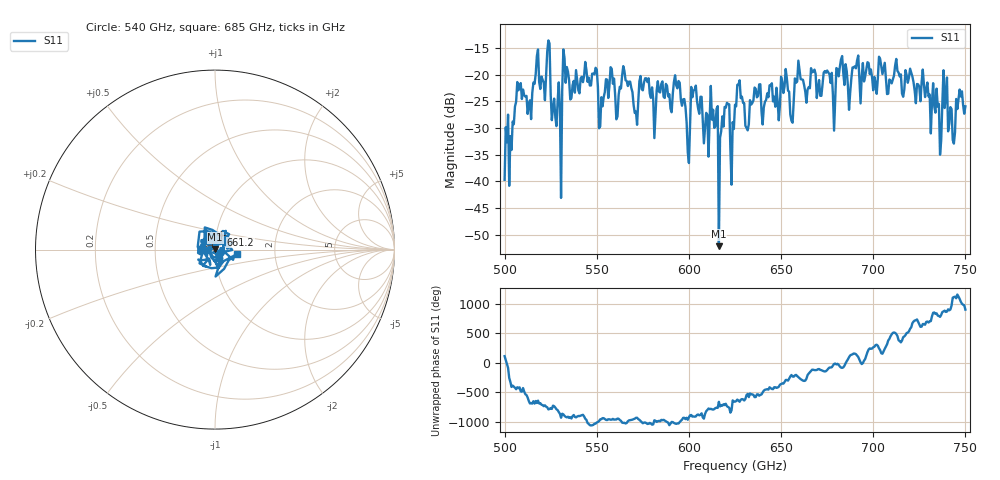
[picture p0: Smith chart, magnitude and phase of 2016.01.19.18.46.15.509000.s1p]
!Created with skrf (http://scikit-rf.org).
# GHz S RI R 50.0
!freq ReS11 ImS11
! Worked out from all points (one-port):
!   401 points, 500 GHz to 750 GHz, reference 50 ohm
!   lowest |S11| = -52.2 dB at 616.2 GHz (marker M1), VSWR 1.00, Z = 50.1 + j0.207 ohm
!   |S11| at or under -10 dB: start of sweep to end of sweep
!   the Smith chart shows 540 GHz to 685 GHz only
!   S11 on the Smith chart (normalised r, x): 540 GHz: 0.87, +0.01; 661.2 GHz: 1.06, +0.18; 685 GHz: 1.28, -0.06
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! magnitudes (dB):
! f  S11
! 500 GHz  -39.7
! 507.5 GHz  -22.9
! 513.8 GHz  -24.8
! 516.9 GHz  -19.8
! 523.8 GHz  -13.5
! 529.4 GHz  -21.4
! 531.2 GHz  -22.8
! 533.1 GHz  -21.5
! 540 GHz  -22.9
! 552.5 GHz  -24.2
! 562.5 GHz  -22.2
! 593.8 GHz  -22.5
! 599.4 GHz  -34.5
! 602.5 GHz  -23.0
! 616.2 GHz  -52.2
! 620.6 GHz  -25.3
! 623.8 GHz  -28.9
! 625 GHz  -25.6
! 651.2 GHz  -23.4
! 656.2 GHz  -29.0
! 661.2 GHz  -20.9
! 685 GHz  -18.0
! 687.5 GHz  -23.3
! 718.8 GHz  -21.5
! 736.2 GHz  -35.0
! 738.8 GHz  -26.2
! 743.1 GHz  -32.2
! 750 GHz  -25.9
